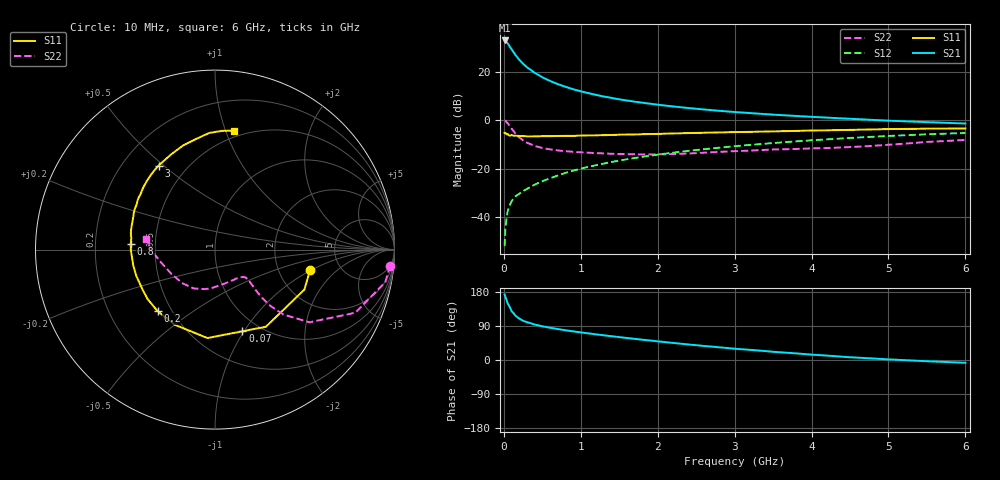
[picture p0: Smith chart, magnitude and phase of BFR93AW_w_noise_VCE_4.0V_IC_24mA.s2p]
! Infineon Technologies  Discrete & RF Semiconductors
! BFR93AW
! VCE =  4.0 V,  IC =  24 mA
! Common Emitter S-Parameters:  Jan 2017
# GHz  S  MA  R  50
!  f  S11  S21  S12  S22
! GHz  MAG  ANG  MAG  ANG  MAG  ANG  MAG  ANG
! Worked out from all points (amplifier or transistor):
!   77 points, 10 MHz to 6 GHz, reference 50 ohm
!   highest |S21| = 32.8 dB at 10 MHz (marker M1)
!   |S21| within 3 dB of that: start of sweep to 86.67 MHz
!   unconditionally stable (mu >= 1): 593.1 MHz to 2.063 GHz
!   at 130 MHz: K = 0.49, MSG = 30.0 dB, |S12| = -32.3 dB
!   at 2.2 GHz: K = 0.99, MSG = 9.5 dB, |S12| = -13.5 dB
!   at 6 GHz: K = 0.88, MSG = 1.9 dB, |S12| = -5.3 dB
!   lowest NFmin = 1.63 dB at 450 MHz
!   S11 on the Smith chart (normalised r, x): 10 MHz: 3.01, -0.98; 70 MHz: 0.83, -0.98; 200 MHz: 0.42, -0.37; 800 MHz: 0.36, +0.03; 3 GHz: 0.35, +0.48; 6 GHz: 0.44, +1.07
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0.01  0.542 -12.2  43.76 173.0  0.0025 82.8  0.98 -5.2
0.02  0.5456 -24.1  43.41 166.6  0.0055 79.3  0.9662 -10.8
0.05  0.515 -56.6  38.21 149.1  0.0132 70.7  0.8571 -24.2
0.07  0.4801 -71.4  34.02 142.4  0.0163 65.7  0.7752 -28.8
0.1  0.4945 -94.9  28.91 129.0  0.0211 61.1  0.6642 -37.6
0.13  0.4732 -108.7  24.68 122.6  0.0244 58.7  0.5801 -40.8
0.15  0.4752 -118.3  22.07 117.1  0.0267 57.4  0.5253 -43.5
0.2  0.4688 -133.1  17.52 109.3  0.0301 58.2  0.4378 -45.5
0.25  0.4659 -143.7  14.48 103.6  0.0342 58.4  0.3814 -45.7
0.3  0.461 -151.1  12.26 99.7  0.0379 59.9  0.3403 -45.3
0.4  0.4624 -161.6  9.425 93.5  0.0463 63.2  0.2927 -43.9
0.5  0.4639 -169.1  7.611 88.9  0.0545 65.2  0.2648 -42.9
0.6  0.4647 -174.8  6.399 85.1  0.0628 66.4  0.248 -42.4
0.8  0.4709 176.2  4.851 78.5  0.0812 68.9  0.2274 -42.8
1.1  0.4813 165.8  3.578 70.3  0.1084 69.2  0.2117 -46.6
1.5  0.498 155.2  2.675 60.4  0.1453 67.5  0.1988 -55.5
2.1  0.5223 141.4  1.987 47.2  0.2025 63.6  0.1971 -75.4
3  0.5638 123.9  1.463 29.8  0.2877 55.9  0.2279 -105.0
3.1  0.5666 122.1  1.426 28.3  0.297 54.8  0.2306 -107.9
4.1  0.6105 105.3  1.142 12.9  0.3907 44.6  0.2618 -137.2
5.1  0.6525 91.5  0.956 0.7  0.4759 33.5  0.3164 -169.3
6  0.6706 81.0  0.846 -7.4  0.541 23.3  0.389 171.4
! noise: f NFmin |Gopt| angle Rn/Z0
0.45  1.63  0.16  169  0.16
0.9  1.9  0.24  180  0.16
1.9  2.91  0.49  -137  0.25
2.4  3.56  0.55  -125  0.49
